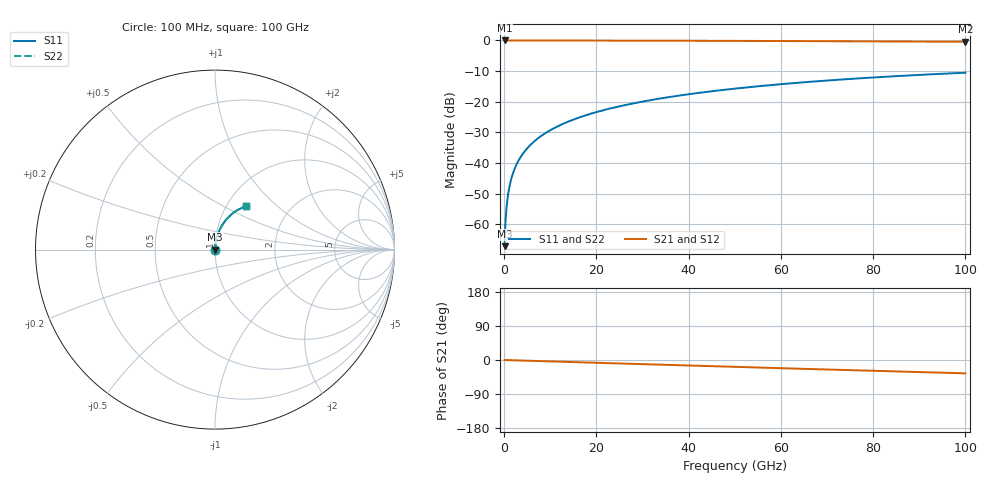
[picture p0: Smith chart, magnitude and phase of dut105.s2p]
! Touchstone file exported from HFSS 2026.1.0
!  File:  C:/ffzhzh/LocalFiles/Ansys_Project_Files/temp_train_TSV_105_1783505829_44152.aedt
!  Generated:  06:18:26 PM Jul  8, 2026
!  Design:  TSV
!  Project:  temp_train_TSV_105_1783505829_44152
! Variables:
!  h_bsmrdl = 2um
!  h_ox = 20um
!  h_rdl = 5um
!  h_sub = 54.62um
!  h_tmrdl = 5um
!  h_tsv = 54.62um
!  h_via = 3um
!  l_bsmrdl = 300um
!  l_sub = 411.08um
!  l_tmrdl = 200um
!  m_sub = 200um
!  pitch = 51.56um
!  r_tsv = 5.54um
!  s_tmrdl = 10um
!  w_bsmrdl = 18um
!  w_sub = 500um
!  w_tmrdl = 12um
!  x_tsv_center1 = 206um
!  x_tsv_center2 = 524um
!  x_tsv_center3 = 736um
!  x_tsv_center4 = 1054um
!  x_tsv_center5 = 1266um
!  x_tsv_center6 = 1584um
# GHz S MA R 50.000000
! Terminal data exported
! Port[1] = TSV1_1_T1
! Port[2] = TSV1_1_T2
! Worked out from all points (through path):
!   1000 points, 100 MHz to 100 GHz, reference 50 ohm
!   highest |S21| = 0.00 dB at 100 MHz (marker M1); lowest = -0.4 dB at 100 GHz (marker M2)
!   group delay of S21, straight-line fit = 980 fs
!   lowest |S11| = -67.1 dB at 100 MHz (marker M3), VSWR 1.00, Z = 50 + j0.0373 ohm
!   |S11| at or under -10 dB: start of sweep to end of sweep
!   |S22| runs from -67.1 to -10.5 dB; largest |S21 - S12| = 3.5e-15
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0.1  0.0004428 57.4  0.9998 -0.0  0.9998 -0.0  0.0004428 57.4
! Gamma 0 0 0 0
! Port Impedance 50 0 50 0
0.4  0.001473 79.5  0.9997 -0.2  0.9997 -0.2  0.001473 79.5
0.7  0.002535 83.3  0.9997 -0.3  0.9997 -0.3  0.002535 83.3
0.8  0.00289 84.0  0.9997 -0.3  0.9997 -0.3  0.00289 84.0
1  0.003601 84.8  0.9997 -0.4  0.9997 -0.4  0.003601 84.8
1.3  0.004664 85.4  0.9997 -0.5  0.9997 -0.5  0.004664 85.4
1.7  0.006075 85.9  0.9996 -0.6  0.9996 -0.6  0.006075 85.9
2.3  0.008175 86.1  0.9995 -0.9  0.9995 -0.9  0.008175 86.1
3  0.0106 86.1  0.9994 -1.1  0.9994 -1.1  0.0106 86.1
3.8  0.01335 86.0  0.9993 -1.4  0.9993 -1.4  0.01335 86.0
4.8  0.01676 85.9  0.9992 -1.8  0.9992 -1.8  0.01676 85.9
6  0.02085 85.7  0.999 -2.2  0.999 -2.2  0.02085 85.7
8.8  0.03034 85.0  0.9986 -3.3  0.9986 -3.3  0.03034 85.0
12.4  0.04249 83.9  0.998 -4.6  0.998 -4.6  0.04249 83.9
16.8  0.05723 82.5  0.9971 -6.2  0.9971 -6.2  0.05723 82.5
24.2  0.08178 80.1  0.9951 -8.9  0.9951 -8.9  0.08178 80.1
33.4  0.1118 76.9  0.9919 -12.2  0.9919 -12.2  0.1118 76.9
41.2  0.1366 74.2  0.9886 -15.0  0.9886 -15.0  0.1366 74.2
50.1  0.1641 71.1  0.9842 -18.1  0.9842 -18.1  0.1641 71.1
66.7  0.2129 65.4  0.9746 -24.0  0.9746 -24.0  0.2129 65.4
83.4  0.2579 59.7  0.9635 -29.7  0.9635 -29.7  0.2579 59.8
100  0.298 54.3  0.9516 -35.2  0.9516 -35.2  0.298 54.3
